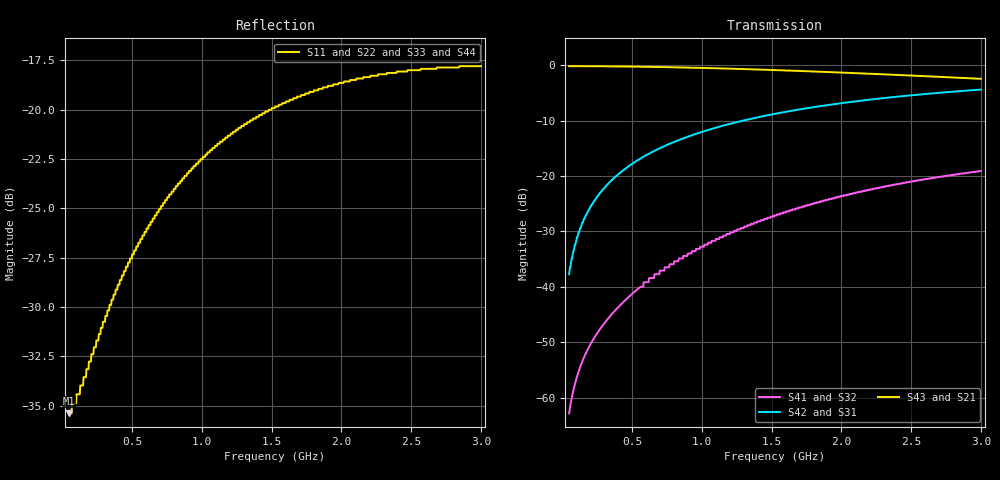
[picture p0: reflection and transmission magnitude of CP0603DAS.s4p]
!	AVX THIN FILM OPERATION
!	CP0603 COUPLERS
!	P/N CP0603DxxxxASTR
!	Network	Analyzer HP8720ES.07.64:Feb23,2000 Serial No.US39172382
!	Hewlett-Packard
!	8 October 2009
#	MHZ	S	MA	R	50
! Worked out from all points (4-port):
!   1000 points, 50 MHz to 3 GHz, reference 50 ohm
!   strongest paths, dB at 50 MHz, 788.2 MHz, 1.526 GHz, 2.265 GHz, 3 GHz:
!     S43: -0.1, -0.3, -0.9, -1.6, -2.4
!     S21: -0.1, -0.3, -0.9, -1.6, -2.4
!     S42: -37.7, -14.0, -8.8, -6.0, -4.4
!     S31: -37.7, -14.0, -8.8, -6.0, -4.4
!     S41: -62.9, -35.9, -27.1, -22.2, -19.1
!     S32: -62.9, -35.9, -27.1, -22.2, -19.1
!   lowest |S11| = -35.4 dB at 50 MHz (marker M1), VSWR 1.03, Z = 51.7 - j0.439 ohm
!   |S11| at or under -10 dB: start of sweep to end of sweep
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50  0.017 -14.5  0.983 -0.8  0.013 89.2  0.00072 84.7
    0.983 -0.8  0.017 -14.5  0.00072 84.7  0.013 89.2
    0.013 89.2  0.00072 84.7  0.017 -14.5  0.983 -0.8
    0.00072 84.7  0.013 89.2  0.983 -0.8  0.017 -14.5
153.353  0.021 -39.2  0.982 -2.4  0.04 87.6  0.00225 74.0
         0.982 -2.4  0.021 -39.2  0.00225 74.0  0.04 87.6
         0.04 87.6  0.00225 74.0  0.021 -39.2  0.982 -2.4
         0.00225 74.0  0.04 87.6  0.982 -2.4  0.021 -39.2
301.001  0.029 -60.7  0.98 -4.6  0.078 85.3  0.00466 59.6
         0.98 -4.6  0.029 -60.7  0.00466 59.6  0.078 85.3
         0.078 85.3  0.00466 59.6  0.029 -60.7  0.98 -4.6
         0.00466 59.6  0.078 85.3  0.98 -4.6  0.029 -60.7
560.861  0.047 -79.4  0.972 -8.6  0.144 81.3  0.01 37.8
         0.972 -8.6  0.047 -79.4  0.01 37.8  0.144 81.3
         0.144 81.3  0.01 37.8  0.047 -79.4  0.972 -8.6
         0.01 37.8  0.144 81.3  0.972 -8.6  0.047 -79.4
915.215  0.07 -92.5  0.953 -13.8  0.23 76.0  0.02 15.3
         0.953 -13.8  0.07 -92.5  0.02 15.3  0.23 76.0
         0.23 76.0  0.02 15.3  0.07 -92.5  0.953 -13.8
         0.02 15.3  0.23 76.0  0.953 -13.8  0.07 -92.5
1818.819  0.112 -109.8  0.878 -26.2  0.422 63.7  0.057 -21.5
          0.878 -26.2  0.112 -109.8  0.057 -21.5  0.422 63.7
          0.422 63.7  0.057 -21.5  0.112 -109.8  0.878 -26.2
          0.057 -21.5  0.422 63.7  0.878 -26.2  0.112 -109.8
3000  0.129 -116.6  0.756 -40.1  0.604 50.5  0.111 -50.9
      0.756 -40.1  0.129 -116.6  0.111 -50.9  0.604 50.5
      0.604 50.5  0.111 -50.9  0.129 -116.6  0.756 -40.1
      0.111 -50.9  0.604 50.5  0.756 -40.1  0.129 -116.6
